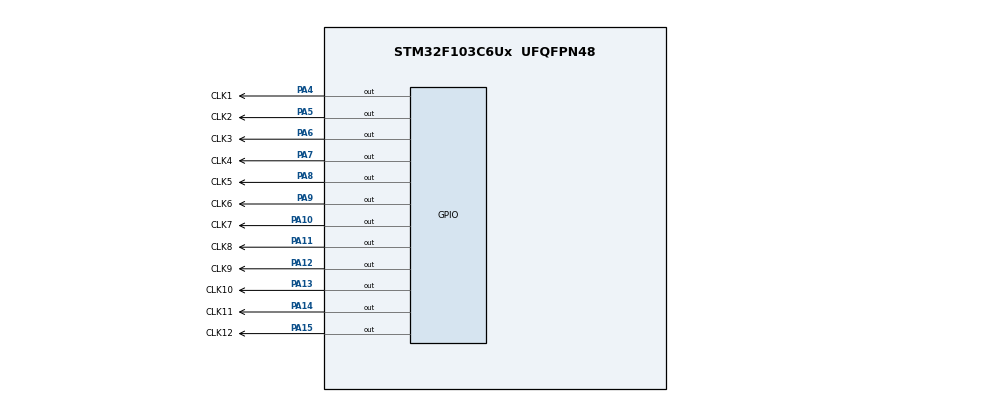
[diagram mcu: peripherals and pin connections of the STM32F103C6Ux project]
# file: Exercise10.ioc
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Mcu.Family=STM32F1
Mcu.Name=STM32F103C6Ux
Mcu.Package=UFQFPN48
NVIC.PriorityGroup=NVIC_PRIORITYGROUP_4
PA10.GPIO_Label=CLK7
PA10.Signal=GPIO_Output
PA11.GPIO_Label=CLK8
PA11.Signal=GPIO_Output
PA12.GPIO_Label=CLK9
PA12.Signal=GPIO_Output
PA13.GPIO_Label=CLK10
PA13.Signal=GPIO_Output
PA14.GPIO_Label=CLK11
PA14.Signal=GPIO_Output
PA15.GPIO_Label=CLK12
PA15.Signal=GPIO_Output
PA4.GPIO_Label=CLK1
PA4.Signal=GPIO_Output
PA5.GPIO_Label=CLK2
PA5.Signal=GPIO_Output
PA6.GPIO_Label=CLK3
PA6.Signal=GPIO_Output
PA7.GPIO_Label=CLK4
PA7.Signal=GPIO_Output
PA8.GPIO_Label=CLK5
PA8.Signal=GPIO_Output
PA9.GPIO_Label=CLK6
PA9.Signal=GPIO_Output
ProjectManager.HeapSize=0x200
ProjectManager.StackSize=0x400
ProjectManager.TargetToolchain=STM32CubeIDE
RCC.APB1Freq_Value=8000000
RCC.APB2Freq_Value=8000000
VP_SYS_VS_ND.Mode=No_Debug
board=custom

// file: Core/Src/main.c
/* USER CODE BEGIN Header */
/**
  ******************************************************************************
  * @file           : main.c
  * @brief          : Main program body
  ******************************************************************************
  * @attention
  *
  * <h2><center>&copy; Copyright (c) 2022 STMicroelectronics.
  * All rights reserved.</center></h2>
  *
  * This software component is licensed by ST under BSD 3-Clause license,
  * the "License"; You may not use this file except in compliance with the
  * License. You may obtain a copy of the License at:
  *                        opensource.org/licenses/BSD-3-Clause
  *
  ******************************************************************************
  */
/* USER CODE END Header */
#include "main.h"

void SystemClock_Config(void);
static void MX_GPIO_Init(void);

/* USER CODE BEGIN 0 */
void clearAllClock(){
	  GPIOA->ODR = 0;
}
void setNumberOnClock(int num){
	  GPIOA->ODR |= 1<<(num+4);
}
void clearNumberOnClock(int num){
	GPIOA->ODR = 0<<(num+4);
}
void displayTime(int hours, int minutes, int seconds){
	setNumberOnClock(hours);
	setNumberOnClock(minutes/5);
	setNumberOnClock(seconds/5);
}
/* USER CODE END 0 */

int main(void)
{

  /* MCU Configuration--------------------------------------------------------*/

  /* Reset of all peripherals, Initializes the Flash interface and the Systick. */
  HAL_Init();

  /* Configure the system clock */
  SystemClock_Config();

  /* Initialize all configured peripherals */
  MX_GPIO_Init();

  /* Infinite loop */
  /* USER CODE BEGIN WHILE */
  	 int hours = 3;
     int minutes = 30;
     int seconds = 45;

  while (1)
  {
	  displayTime(hours, minutes, seconds);
	  if (seconds == 60){
		  seconds = 0;
		  minutes++;
	  }
	  else
		  seconds++;
	  if (minutes == 60){
		  minutes = 0;
		  hours++;
	  }
	  if (hours == 12){
		  hours = 0;
	  }
	  HAL_Delay(40);
	  clearAllClock();

    /* USER CODE END WHILE */

  }
}

void SystemClock_Config(void)
{
  RCC_OscInitTypeDef RCC_OscInitStruct = {0};
  RCC_ClkInitTypeDef RCC_ClkInitStruct = {0};

  /** Initializes the RCC Oscillators according to the specified parameters
  * in the RCC_OscInitTypeDef structure.
  */
  RCC_OscInitStruct.OscillatorType = RCC_OSCILLATORTYPE_HSI;
  RCC_OscInitStruct.HSIState = RCC_HSI_ON;
  RCC_OscInitStruct.HSICalibrationValue = RCC_HSICALIBRATION_DEFAULT;
  RCC_OscInitStruct.PLL.PLLState = RCC_PLL_NONE;
  if (HAL_RCC_OscConfig(&RCC_OscInitStruct) != HAL_OK)
  {
    Error_Handler();
  }
  /** Initializes the CPU, AHB and APB buses clocks
  */
  RCC_ClkInitStruct.ClockType = RCC_CLOCKTYPE_HCLK|RCC_CLOCKTYPE_SYSCLK
                              |RCC_CLOCKTYPE_PCLK1|RCC_CLOCKTYPE_PCLK2;
  RCC_ClkInitStruct.SYSCLKSource = RCC_SYSCLKSOURCE_HSI;
  RCC_ClkInitStruct.AHBCLKDivider = RCC_SYSCLK_DIV1;
  RCC_ClkInitStruct.APB1CLKDivider = RCC_HCLK_DIV1;
  RCC_ClkInitStruct.APB2CLKDivider = RCC_HCLK_DIV1;

  if (HAL_RCC_ClockConfig(&RCC_ClkInitStruct, FLASH_LATENCY_0) != HAL_OK)
  {
    Error_Handler();
  }
}

static void MX_GPIO_Init(void)
{
  GPIO_InitTypeDef GPIO_InitStruct = {0};

  /* GPIO Ports Clock Enable */
  __HAL_RCC_GPIOA_CLK_ENABLE();

  /*Configure GPIO pin Output Level */
  HAL_GPIO_WritePin(GPIOA, CLK1_Pin|CLK2_Pin|CLK3_Pin|CLK4_Pin
                          |CLK5_Pin|CLK6_Pin|CLK7_Pin|CLK8_Pin
                          |CLK9_Pin|CLK10_Pin|CLK11_Pin|CLK12_Pin, GPIO_PIN_RESET);

  /*Configure GPIO pins : CLK1_Pin CLK2_Pin CLK3_Pin CLK4_Pin
                           CLK5_Pin CLK6_Pin CLK7_Pin CLK8_Pin
                           CLK9_Pin CLK10_Pin CLK11_Pin CLK12_Pin */
  GPIO_InitStruct.Pin = CLK1_Pin|CLK2_Pin|CLK3_Pin|CLK4_Pin
                          |CLK5_Pin|CLK6_Pin|CLK7_Pin|CLK8_Pin
                          |CLK9_Pin|CLK10_Pin|CLK11_Pin|CLK12_Pin;
  GPIO_InitStruct.Mode = GPIO_MODE_OUTPUT_PP;
  GPIO_InitStruct.Pull = GPIO_NOPULL;
  GPIO_InitStruct.Speed = GPIO_SPEED_FREQ_LOW;
  HAL_GPIO_Init(GPIOA, &GPIO_InitStruct);

}

void Error_Handler(void)
{
  __disable_irq();
  while (1)
  {
  }
}

/************************ (C) COPYRIGHT STMicroelectronics *****END OF FILE****/
